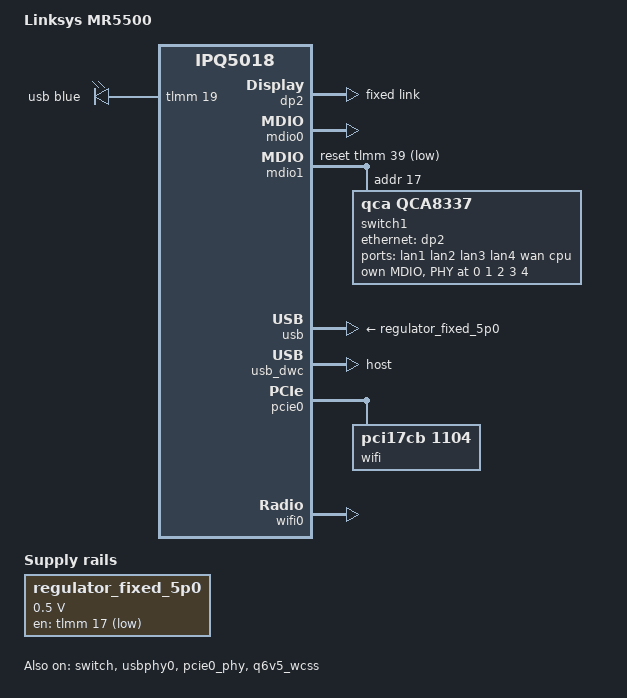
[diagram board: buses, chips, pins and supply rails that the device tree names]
/dts-v1/;

#include "ipq5018.dtsi"
#include "ipq5018-mx-base.dtsi"

/ {
	model = "Linksys MR5500";
	compatible = "linksys,mr5500", "qcom,ipq5018";

	gpio-leds {
		compatible = "gpio-leds";

		usb {
			color = <LED_COLOR_ID_BLUE>;
			function = LED_FUNCTION_USB;
			gpios = <&tlmm 19 GPIO_ACTIVE_HIGH>;
			trigger-sources = <&usb_port1>;
			linux,default-trigger = "usbport";
		};
	};

	regulator_fixed_5p0: regulator-s0500 {
		compatible = "regulator-fixed";
		regulator-min-microvolt = <500000>;
		regulator-max-microvolt = <500000>;
		regulator-name = "fixed_5p0";
		gpio = <&tlmm 17 GPIO_ACTIVE_LOW>;
	};
};

/*
 * ===============================================================
 *     _______________________         _______________________
 *    |        IPQ5018        |       |        QCA8337        |
 *    | +------+   +--------+ |       | +--------+   +------+ |
 *    | | MAC0 |---| GE Phy | |       | |  Phy0  |---| MAC1 | |
 *    | +------+   +--------+ |       | +--------+   +------+ |
 *    | +------+   +--------+ |       | +--------+   +------+ |
 *    | | MAC1 |---| Uniphy |-+-SGMII-+-| SerDes |---| MAC6 | |
 *    | +------+   +--------+ |       | +--------+   +------+ |
 *    |_______________________|       |_______________________|
 *
 * ===============================================================
 */

&switch {
	status = "okay";

	switch_mac_mode = <MAC_MODE_SGMII_CHANNEL0>;

	qcom,port_phyinfo {
		// MAC0 -> GE Phy
		port@0 {
			port_id = <1>;
			mdiobus = <&mdio0>;
			phy_address = <7>;
		};

		// MAC1 ---SGMII---> QCA8337 SerDes
		port@1 {
			port_id = <2>;
			forced-speed = <1000>;
			forced-duplex = <1>;
		};
	};
};

// MAC1 ---SGMII---> QCA8337 SerDes
&dp2 {
	status = "okay";

	fixed-link {
		speed = <1000>;
		full-duplex;
	};
};

&mdio0 {
	status = "okay";
};

&mdio1 {
	status = "okay";

	pinctrl-0 = <&mdio1_pins>;
	pinctrl-names = "default";
	reset-gpios = <&tlmm 39 GPIO_ACTIVE_LOW>;

	switch1: ethernet-switch@17 {
		compatible = "qca,qca8337";
		reg = <17>;
		#address-cells = <1>;
		#size-cells = <0>;

		ports {
			#address-cells = <1>;
			#size-cells = <0>;

			port@1 {
				reg = <1>;
				label = "lan1";
				phy-handle = <&qca8337_0>;
				phy-mode = "internal";

				leds {
					#address-cells = <1>;
					#size-cells = <0>;

					led@0 {
						reg = <0>;
						color = <LED_COLOR_ID_GREEN>;
						function = LED_FUNCTION_LAN;
						default-state = "keep";
					};

					led@1 {
						reg = <1>;
						color = <LED_COLOR_ID_AMBER>;
						function = LED_FUNCTION_LAN;
						default-state = "keep";
					};
				};
			};

			port@2 {
				reg = <2>;
				label = "lan2";
				phy-handle = <&qca8337_1>;
				phy-mode = "internal";

				leds {
					#address-cells = <1>;
					#size-cells = <0>;

					led@0 {
						reg = <0>;
						color = <LED_COLOR_ID_GREEN>;
						function = LED_FUNCTION_LAN;
						default-state = "keep";
					};

					led@1 {
						reg = <1>;
						color = <LED_COLOR_ID_AMBER>;
						function = LED_FUNCTION_LAN;
						default-state = "keep";
					};
				};
			};

			port@3 {
				reg = <3>;
				label = "lan3";
				phy-handle = <&qca8337_2>;
				phy-mode = "internal";

				leds {
					#address-cells = <1>;
					#size-cells = <0>;

					led@0 {
						reg = <0>;
						color = <LED_COLOR_ID_GREEN>;
						function = LED_FUNCTION_LAN;
						default-state = "keep";
					};

					led@1 {
						reg = <1>;
						color = <LED_COLOR_ID_AMBER>;
						function = LED_FUNCTION_LAN;
						default-state = "keep";
					};
				};
			};

			port@4 {
				reg = <4>;
				label = "lan4";
				phy-handle = <&qca8337_3>;
				phy-mode = "internal";

				leds {
					#address-cells = <1>;
					#size-cells = <0>;

					led@0 {
						reg = <0>;
						color = <LED_COLOR_ID_GREEN>;
						function = LED_FUNCTION_LAN;
						default-state = "keep";
					};

					led@1 {
						reg = <1>;
						color = <LED_COLOR_ID_AMBER>;
						function = LED_FUNCTION_LAN;
						default-state = "keep";
					};
				};
			};

			port@5 {
				reg = <5>;
				label = "wan";
				phy-handle = <&qca8337_4>;
				phy-mode = "internal";

				leds {
					#address-cells = <1>;
					#size-cells = <0>;

					led@0 {
						reg = <0>;
						color = <LED_COLOR_ID_GREEN>;
						function = LED_FUNCTION_WAN;
						default-state = "keep";
					};

					led@1 {
						reg = <1>;
						color = <LED_COLOR_ID_AMBER>;
						function = LED_FUNCTION_WAN;
						default-state = "keep";
					};
				};
			};

			port@6 {
				reg = <6>;
				label = "cpu";
				phy-mode = "sgmii";
				ethernet = <&dp2>;
				qca,sgmii-enable-pll;

				fixed-link {
					speed = <1000>;
					full-duplex;
				};
			};
		};

		mdio {
			#address-cells = <1>;
			#size-cells = <0>;

			// QCA8337 Phy0 -> LAN1
			qca8337_0: ethernet-phy@0 {
				reg = <0>;
			};

			// QCA8337 Phy1 -> LAN2
			qca8337_1: ethernet-phy@1 {
				reg = <1>;
			};

			// QCA8337 Phy2 -> LAN3
			qca8337_2: ethernet-phy@2 {
				reg = <2>;
			};

			// QCA8337 Phy3 -> LAN4
			qca8337_3: ethernet-phy@3 {
				reg = <3>;
			};

			// QCA8337 Phy4 -> WAN
			qca8337_4: ethernet-phy@4 {
				reg = <4>;
			};
		};
	};
};

&usbphy0 {
	status = "okay";

	vdd-supply = <&regulator_fixed_5p0>;
};

&usb {
	status = "okay";

	vbus-supply = <&regulator_fixed_5p0>;
};

&usb_dwc {
	#address-cells = <1>;
	#size-cells = <0>;
	dr_mode = "host";

	usb_port1: port@1 {
		reg = <1>;
		#trigger-source-cells = <0>;
	};
};

&pcie0_phy {
	status = "okay";
};

&pcie0 {
	status = "okay";

	perst-gpios = <&tlmm 15 GPIO_ACTIVE_LOW>;

	pcie@0 {
		wifi@0,0 {
			status = "okay";

			/* QCN9074: ath11k lacks DT compatible for PCI cards */
			compatible = "pci17cb,1104";
			reg = <0x00010000 0 0 0 0>;

			qcom,ath11k-calibration-variant = "Linksys-MR5500";
		};
	};
};

&q6v5_wcss {
	status = "okay";

	memory-region = <&q6_mem_regions>;
	firmware-name = "ath11k/IPQ5018/hw1.0/q6_fw.mdt",
			"ath11k/IPQ5018/hw1.0/m3_fw.mdt";

	// IPQ5018
	q6_wcss_pd1: pd-1 {
		firmware-name = "ath11k/IPQ5018/hw1.0/q6_fw.mdt";

		resets =
			<&gcc GCC_WCSSAON_RESET>,
			<&gcc GCC_WCSS_BCR>,
			<&gcc GCC_CE_BCR>;
		reset-names =
			"wcss_aon_reset",
			"wcss_reset",
			"ce_reset";

		clocks =
			<&gcc GCC_WCSS_AHB_S_CLK>,
			<&gcc GCC_WCSS_ACMT_CLK>,
			<&gcc GCC_WCSS_AXI_M_CLK>;
		clock-names =
			"gcc_wcss_ahb_s_clk",
			"gcc_wcss_acmt_clk",
			"gcc_wcss_axi_m_clk";

		interrupts-extended =
			<&wcss_smp2p_in 8 0>,
			<&wcss_smp2p_in 9 0>,
			<&wcss_smp2p_in 12 0>,
			<&wcss_smp2p_in 11 0>;
		interrupt-names =
			"fatal",
			"ready",
			"spawn-ack",
			"stop-ack";

		qcom,smem-states =
			<&wcss_smp2p_out 8>,
			<&wcss_smp2p_out 9>,
			<&wcss_smp2p_out 10>;
		qcom,smem-state-names =
			"shutdown",
			"stop",
			"spawn";
	};
};

&wifi0 {
	// IPQ5018
	qcom,rproc = <&q6_wcss_pd1>;
	qcom,ath11k-calibration-variant = "Linksys-MR5500";
	qcom,ath11k-fw-memory-mode = <1>;
	qcom,bdf-addr = <0x4c400000>;

	status = "okay";
};
